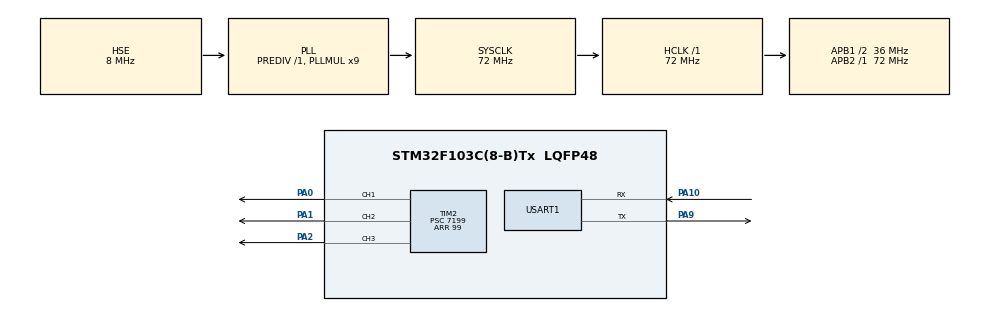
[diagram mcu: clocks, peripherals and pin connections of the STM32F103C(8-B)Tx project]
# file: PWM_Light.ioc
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Mcu.Family=STM32F1
Mcu.Name=STM32F103C(8-B)Tx
Mcu.Package=LQFP48
NVIC.PriorityGroup=NVIC_PRIORITYGROUP_4
NVIC.USART1_IRQn=true\:0\:0\:false\:false\:true\:true\:true\:true
PA0-WKUP.Signal=S_TIM2_CH1_ETR
PA1.Signal=S_TIM2_CH2
PA10.Mode=Asynchronous
PA10.Signal=USART1_RX
PA13.Mode=Serial_Wire
PA13.Signal=SYS_JTMS-SWDIO
PA14.Mode=Serial_Wire
PA14.Signal=SYS_JTCK-SWCLK
PA2.Signal=S_TIM2_CH3
PA9.Mode=Asynchronous
PA9.Signal=USART1_TX
PC14-OSC32_IN.Mode=LSE-External-Oscillator
PC14-OSC32_IN.Signal=RCC_OSC32_IN
PC15-OSC32_OUT.Mode=LSE-External-Oscillator
PC15-OSC32_OUT.Signal=RCC_OSC32_OUT
PD0-OSC_IN.Mode=HSE-External-Oscillator
PD0-OSC_IN.Signal=RCC_OSC_IN
PD1-OSC_OUT.Mode=HSE-External-Oscillator
PD1-OSC_OUT.Signal=RCC_OSC_OUT
ProjectManager.HeapSize=0x200
ProjectManager.StackSize=0x400
ProjectManager.TargetToolchain=CMake
RCC.AHBFreq_Value=72000000
RCC.APB1CLKDivider=RCC_HCLK_DIV2
RCC.APB1Freq_Value=36000000
RCC.APB1TimFreq_Value=72000000
RCC.APB2Freq_Value=72000000
RCC.APB2TimFreq_Value=72000000
RCC.HCLKFreq_Value=72000000
RCC.PLLMUL=RCC_PLL_MUL9
RCC.PLLSourceVirtual=RCC_PLLSOURCE_HSE
RCC.SYSCLKFreq_VALUE=72000000
RCC.SYSCLKSource=RCC_SYSCLKSOURCE_PLLCLK
RCC.USBFreq_Value=72000000
SH.S_TIM2_CH1_ETR.0=TIM2_CH1,PWM Generation1 CH1
SH.S_TIM2_CH2.0=TIM2_CH2,PWM Generation2 CH2
SH.S_TIM2_CH3.0=TIM2_CH3,PWM Generation3 CH3
TIM2.Channel-PWM\ Generation1\ CH1=TIM_CHANNEL_1
TIM2.Channel-PWM\ Generation2\ CH2=TIM_CHANNEL_2
TIM2.Channel-PWM\ Generation3\ CH3=TIM_CHANNEL_3
TIM2.Period=99
TIM2.Prescaler=7199
TIM2.Pulse-PWM\ Generation1\ CH1=30
TIM2.Pulse-PWM\ Generation2\ CH2=75
TIM2.Pulse-PWM\ Generation3\ CH3=75
USART1.VirtualMode=VM_ASYNC
VP_TIM2_VS_ClockSourceINT.Mode=Internal
board=custom

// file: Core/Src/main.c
/* USER CODE BEGIN Header */
/**
  ******************************************************************************
  * @file           : main.c
  * @brief          : Main program body
  ******************************************************************************
  * @attention
  *
  * Copyright (c) 2026 STMicroelectronics.
  * All rights reserved.
  *
  * This software is licensed under terms that can be found in the LICENSE file
  * in the root directory of this software component.
  * If no LICENSE file comes with this software, it is provided AS-IS.
  *
  ******************************************************************************
  */
/* USER CODE END Header */
#include "main.h"

TIM_HandleTypeDef htim2;

UART_HandleTypeDef huart1;

/* USER CODE BEGIN PV */
uint8_t receiveData[3] = {0, 0, 0};
uint8_t RED_LIGHT = 0;
uint8_t GREEN_LIGHT = 0;
uint8_t BLUE_LIGHT = 0;
uint8_t rx_flag = 0;
/* USER CODE END PV */

void SystemClock_Config(void);
static void MX_GPIO_Init(void);
static void MX_TIM2_Init(void);
static void MX_USART1_UART_Init(void);
/* USER CODE BEGIN PFP */
void HAL_UART_RxCpltCallback(UART_HandleTypeDef *huart);
void dual_RGB_Function ();
void PWM_Output ();

/* USER CODE END PFP */

int main(void)
{

  /* MCU Configuration--------------------------------------------------------*/

  /* Reset of all peripherals, Initializes the Flash interface and the Systick. */
  HAL_Init();

  /* Configure the system clock */
  SystemClock_Config();

  /* Initialize all configured peripherals */
  MX_GPIO_Init();
  MX_TIM2_Init();
  MX_USART1_UART_Init();
  /* USER CODE BEGIN 2 */
  HAL_TIM_PWM_Start(&htim2 , TIM_CHANNEL_1);
  HAL_TIM_PWM_Start(&htim2 , TIM_CHANNEL_2);
  HAL_TIM_PWM_Start(&htim2 , TIM_CHANNEL_3);
  HAL_UART_Receive_IT(&huart1, receiveData, 3);
  /* USER CODE END 2 */

  /* Infinite loop */
  /* USER CODE BEGIN WHILE */
  while (1)
  {
    if (rx_flag != 0) {
      PWM_Output();
      rx_flag = 0;
      HAL_UART_Transmit(&huart1, receiveData, 3, 100);
    }
    /* USER CODE END WHILE */

  }
}

void SystemClock_Config(void)
{
  RCC_OscInitTypeDef RCC_OscInitStruct = {0};
  RCC_ClkInitTypeDef RCC_ClkInitStruct = {0};

  /** Initializes the RCC Oscillators according to the specified parameters
  * in the RCC_OscInitTypeDef structure.
  */
  RCC_OscInitStruct.OscillatorType = RCC_OSCILLATORTYPE_HSE;
  RCC_OscInitStruct.HSEState = RCC_HSE_ON;
  RCC_OscInitStruct.HSEPredivValue = RCC_HSE_PREDIV_DIV1;
  RCC_OscInitStruct.HSIState = RCC_HSI_ON;
  RCC_OscInitStruct.PLL.PLLState = RCC_PLL_ON;
  RCC_OscInitStruct.PLL.PLLSource = RCC_PLLSOURCE_HSE;
  RCC_OscInitStruct.PLL.PLLMUL = RCC_PLL_MUL9;
  if (HAL_RCC_OscConfig(&RCC_OscInitStruct) != HAL_OK)
  {
    Error_Handler();
  }

  /** Initializes the CPU, AHB and APB buses clocks
  */
  RCC_ClkInitStruct.ClockType = RCC_CLOCKTYPE_HCLK|RCC_CLOCKTYPE_SYSCLK
                              |RCC_CLOCKTYPE_PCLK1|RCC_CLOCKTYPE_PCLK2;
  RCC_ClkInitStruct.SYSCLKSource = RCC_SYSCLKSOURCE_PLLCLK;
  RCC_ClkInitStruct.AHBCLKDivider = RCC_SYSCLK_DIV1;
  RCC_ClkInitStruct.APB1CLKDivider = RCC_HCLK_DIV2;
  RCC_ClkInitStruct.APB2CLKDivider = RCC_HCLK_DIV1;

  if (HAL_RCC_ClockConfig(&RCC_ClkInitStruct, FLASH_LATENCY_2) != HAL_OK)
  {
    Error_Handler();
  }
}

static void MX_TIM2_Init(void)
{

  TIM_ClockConfigTypeDef sClockSourceConfig = {0};
  TIM_MasterConfigTypeDef sMasterConfig = {0};
  TIM_OC_InitTypeDef sConfigOC = {0};

  htim2.Instance = TIM2;
  htim2.Init.Prescaler = 7199;
  htim2.Init.CounterMode = TIM_COUNTERMODE_UP;
  htim2.Init.Period = 99;
  htim2.Init.ClockDivision = TIM_CLOCKDIVISION_DIV1;
  htim2.Init.AutoReloadPreload = TIM_AUTORELOAD_PRELOAD_DISABLE;
  if (HAL_TIM_Base_Init(&htim2) != HAL_OK)
  {
    Error_Handler();
  }
  sClockSourceConfig.ClockSource = TIM_CLOCKSOURCE_INTERNAL;
  if (HAL_TIM_ConfigClockSource(&htim2, &sClockSourceConfig) != HAL_OK)
  {
    Error_Handler();
  }
  if (HAL_TIM_PWM_Init(&htim2) != HAL_OK)
  {
    Error_Handler();
  }
  sMasterConfig.MasterOutputTrigger = TIM_TRGO_RESET;
  sMasterConfig.MasterSlaveMode = TIM_MASTERSLAVEMODE_DISABLE;
  if (HAL_TIMEx_MasterConfigSynchronization(&htim2, &sMasterConfig) != HAL_OK)
  {
    Error_Handler();
  }
  sConfigOC.OCMode = TIM_OCMODE_PWM1;
  sConfigOC.Pulse = 30;
  sConfigOC.OCPolarity = TIM_OCPOLARITY_HIGH;
  sConfigOC.OCFastMode = TIM_OCFAST_DISABLE;
  if (HAL_TIM_PWM_ConfigChannel(&htim2, &sConfigOC, TIM_CHANNEL_1) != HAL_OK)
  {
    Error_Handler();
  }
  sConfigOC.Pulse = 75;
  if (HAL_TIM_PWM_ConfigChannel(&htim2, &sConfigOC, TIM_CHANNEL_2) != HAL_OK)
  {
    Error_Handler();
  }
  if (HAL_TIM_PWM_ConfigChannel(&htim2, &sConfigOC, TIM_CHANNEL_3) != HAL_OK)
  {
    Error_Handler();
  }
  HAL_TIM_MspPostInit(&htim2);

}

static void MX_USART1_UART_Init(void)
{

  huart1.Instance = USART1;
  huart1.Init.BaudRate = 115200;
  huart1.Init.WordLength = UART_WORDLENGTH_8B;
  huart1.Init.StopBits = UART_STOPBITS_1;
  huart1.Init.Parity = UART_PARITY_NONE;
  huart1.Init.Mode = UART_MODE_TX_RX;
  huart1.Init.HwFlowCtl = UART_HWCONTROL_NONE;
  huart1.Init.OverSampling = UART_OVERSAMPLING_16;
  if (HAL_UART_Init(&huart1) != HAL_OK)
  {
    Error_Handler();
  }

}

static void MX_GPIO_Init(void)
{

  /* GPIO Ports Clock Enable */
  __HAL_RCC_GPIOC_CLK_ENABLE();
  __HAL_RCC_GPIOD_CLK_ENABLE();
  __HAL_RCC_GPIOA_CLK_ENABLE();

}

/* USER CODE BEGIN 4 */

void dual_RGB_Function () {
  RED_LIGHT = receiveData[0] *100u / 255u;
  GREEN_LIGHT = receiveData[1] * 100u / 255u;
  BLUE_LIGHT = receiveData[2] * 100u / 255u;
}

void HAL_UART_RxCpltCallback(UART_HandleTypeDef *huart)
{
  if (huart -> Instance == USART1)
  {
    rx_flag = 1;
    HAL_UART_Receive_IT(&huart1, receiveData, 3);
  }
}

void PWM_Output () {
  dual_RGB_Function();

  __HAL_TIM_SET_COMPARE(&htim2, TIM_CHANNEL_1, RED_LIGHT);
  __HAL_TIM_SET_COMPARE(&htim2, TIM_CHANNEL_2, GREEN_LIGHT);
  __HAL_TIM_SET_COMPARE(&htim2, TIM_CHANNEL_3, BLUE_LIGHT);
}
/* USER CODE END 4 */

void Error_Handler(void)
{
  __disable_irq();
  while (1)
  {
  }
}
